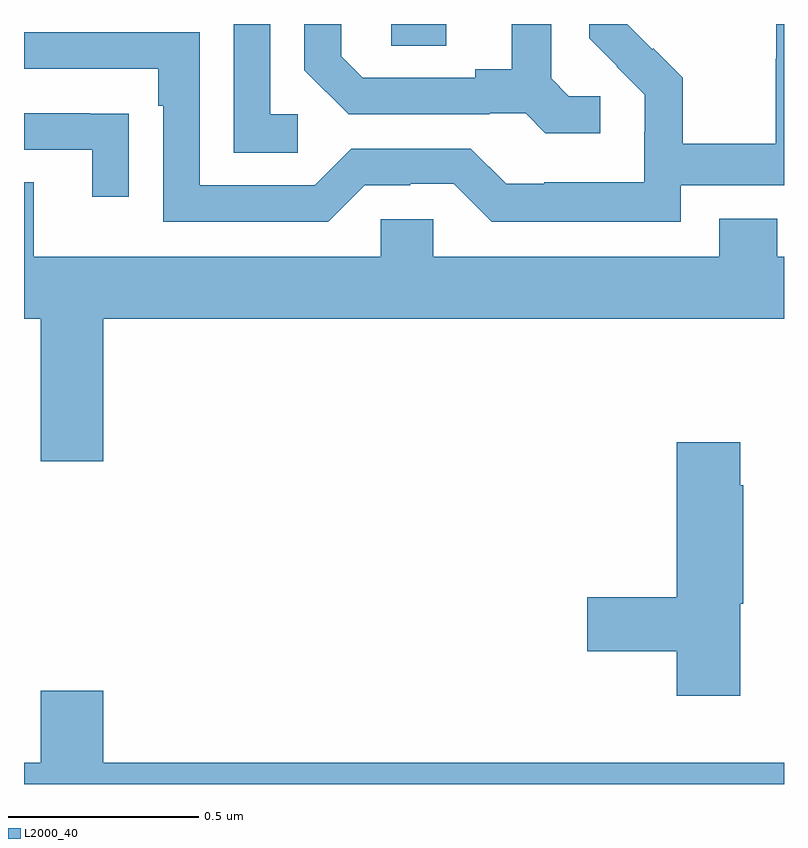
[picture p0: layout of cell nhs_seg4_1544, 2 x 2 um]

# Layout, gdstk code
import gdstk
lib = gdstk.Library(unit=1e-6, precision=1e-09)
def R(c, l, rs):  # rectangles x0, y0, x1, y1
    for r in rs: c.add(gdstk.rectangle(r[:2], r[2:], *l))
def P(c, l, *ps):  # polygons
    for p in ps: c.add(gdstk.Polygon(p, *l))
L2000_40 = (2000, 40)

nhs_seg4_1544 = lib.new_cell('nhs_seg4_1544')
R(nhs_seg4_1544, L2000_40, [(129.966,826.843,130.111,826.9)])
P(nhs_seg4_1544, L2000_40, [(129.721,826.662),(129.648,826.662),(129.648,826.9),(129.552,826.9),(129.552,826.561),(129.721,826.561)],
  [(130.516,826.71),(130.434,826.71),(130.387,826.757),(130.387,826.9),(130.283,826.9),(130.283,826.781),(130.187,826.781),(130.187,826.758),(129.892,826.758),(129.835,826.815),(129.835,826.9),(129.738,826.9),(129.738,826.778),(129.854,826.662),(130.226,826.662),(130.226,826.665),(130.32,826.665),(130.372,826.613),(130.516,826.613)],
  [(130.728,826.476),(131,826.476),(131,826.9),(130.98,826.9),(130.98,826.808),(130.978,826.808),(130.978,826.585),(130.733,826.585),(130.733,826.759),(130.656,826.836),(130.653,826.833),(130.587,826.9),(130.488,826.9),(130.488,826.862),(130.561,826.789),(130.56,826.788),(130.634,826.714),(130.634,826.617),(130.632,826.617),(130.632,826.483),(130.369,826.483),(130.369,826.479),(130.269,826.479),(130.176,826.572),(129.861,826.572),(129.765,826.476),(129.462,826.476),(129.462,826.878),(129,826.878),(129,826.782),(129.353,826.782),(129.353,826.685),(129.366,826.685),(129.366,826.38),(129.801,826.38),(129.897,826.476),(130.016,826.476),(130.016,826.479),(130.131,826.479),(130.231,826.379),(130.728,826.379)],
  [(129.275,826.664),(129.173,826.664),(129.173,826.665),(129,826.665),(129,826.569),(129.179,826.569),(129.179,826.446),(129.275,826.446)],
  [(129.208,826.124),(131,826.124),(131,826.288),(130.982,826.288),(130.982,826.387),(130.829,826.387),(130.829,826.288),(130.077,826.288),(130.077,826.386),(129.939,826.386),(129.939,826.288),(129.025,826.288),(129.025,826.483),(129,826.483),(129,826.124),(129.044,826.124),(129.044,825.75),(129.208,825.75)],
  [(130.885,825.375),(130.893,825.375),(130.893,825.686),(130.885,825.686),(130.885,825.799),(130.718,825.799),(130.718,825.392),(130.482,825.392),(130.482,825.25),(130.718,825.25),(130.718,825.132),(130.885,825.132)],
  [(131,824.956),(129.208,824.956),(129.208,825.145),(129.044,825.145),(129.044,824.956),(129,824.956),(129,824.9),(131,824.9)])

lib.write_gds('nhs_seg4_1544.gds')
